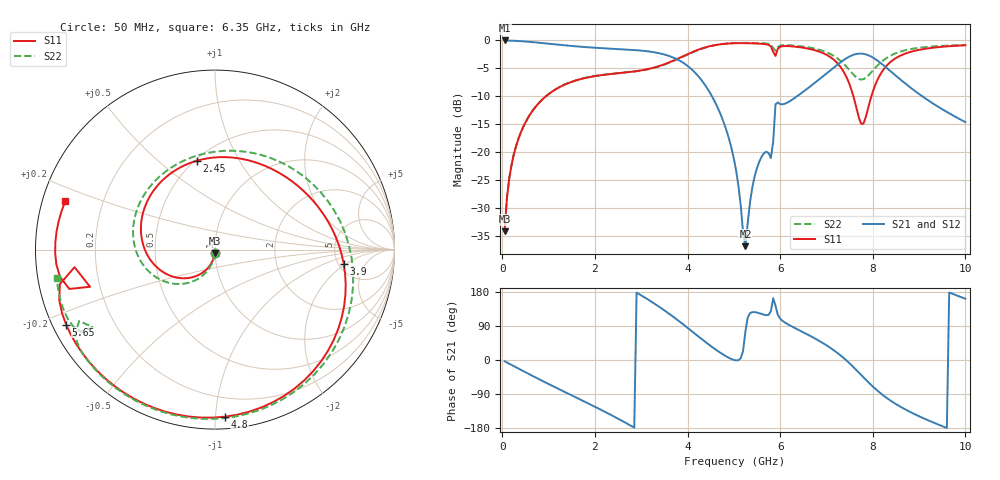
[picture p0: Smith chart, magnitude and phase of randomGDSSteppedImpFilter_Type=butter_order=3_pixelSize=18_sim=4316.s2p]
! freq	dB(S11)	phase(S11)	dB(S12)	phase(S12)
!  dB(S21)	phase(S21)	dB(S22)	phase(S22)
!S-par simulation data
#  GHz  S  DB  R 50
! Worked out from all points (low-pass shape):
!   200 points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, 50 MHz to 10 GHz, reference 50 ohm
!   highest |S21| = -0.01 dB at 50 MHz (marker M1); lowest = -36.9 dB at 5.25 GHz (marker M2)
!   |S21| within 3 dB of the highest: start of sweep to 3.672 GHz; 7.471 GHz to 7.987 GHz (516 MHz wide, 6.68 % of centre)
!   lowest |S11| = -34.2 dB at 50 MHz (marker M3), VSWR 1.04, Z = 49.8 - j1.93 ohm
!   |S11| at or under -10 dB: start of sweep to 945 MHz; 7.58 GHz to 7.971 GHz (390.3 MHz wide, 5.02 % of centre)
!   |S22| runs from -34.2 to -0.4 dB; largest |S21 - S12| = 0
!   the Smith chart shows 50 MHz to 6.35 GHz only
!   S11 on the Smith chart (normalised r, x): 50 MHz: 1.00, -0.04; 2.45 GHz: 0.51, +0.68; 3.9 GHz: 5.57, -1.80; 4.8 GHz: 0.07, -1.06; 5.65 GHz: 0.04, -0.24; 6.35 GHz: 0.07, +0.16
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0.05  -34.24 -93.5  -0.01 -3.3  -0.01 -3.3  -34.23 -92.8
0.2  -22.30 -104.6  -0.05 -13.0  -0.05 -13.0  -22.29 -102.0
0.5  -14.70 -126.1  -0.19 -32.3  -0.19 -32.3  -14.69 -119.5
1.75  -6.81 149.2  -1.17 -108.3  -1.17 -108.3  -6.79 173.0
2.45  -5.93 101.6  -1.52 -151.6  -1.52 -151.6  -5.92 134.1
3.4  -4.56 33.6  -2.32 139.4  -2.32 139.4  -4.62 63.7
3.9  -2.84 -6.2  -3.97 94.7  -3.97 94.7  -2.92 12.9
4.3  -1.46 -41.9  -7.10 55.8  -7.10 55.8  -1.52 -30.7
4.8  -0.61 -86.5  -15.14 12.1  -15.14 12.1  -0.60 -79.1
5.05  -0.50 -107.1  -23.37 -1.1  -23.37 -1.1  -0.46 -99.0
5.25  -0.49 -122.7  -36.89 75.2  -36.89 75.2  -0.44 -113.1
5.65  -0.64 -153.2  -20.24 119.6  -20.24 119.6  -0.52 -138.1
5.8  -1.06 -167.5  -21.10 128.9  -21.10 128.9  -0.76 -148.4
5.9  -2.78 -163.4  -11.44 143.2  -11.44 143.2  -1.87 -147.7
6.35  -1.14 162.1  -10.10 82.4  -10.10 82.4  -0.96 -169.7
6.7  -1.65 134.8  -7.92 60.2  -7.92 60.2  -1.38 174.4
7.15  -3.40 91.4  -4.91 26.5  -4.91 26.5  -2.73 154.6
7.5  -7.91 38.7  -2.88 -8.9  -2.88 -8.9  -5.35 145.8
7.9  -12.12 -127.7  -2.65 -58.1  -2.65 -58.1  -6.32 165.7
8.35  -4.11 148.4  -5.28 -104.4  -5.28 -104.4  -2.88 160.4
9.05  -1.61 86.1  -9.91 -151.3  -9.91 -151.3  -1.27 134.2
10  -0.87 25.6  -14.65 161.5  -14.65 161.5  -0.82 102.8
